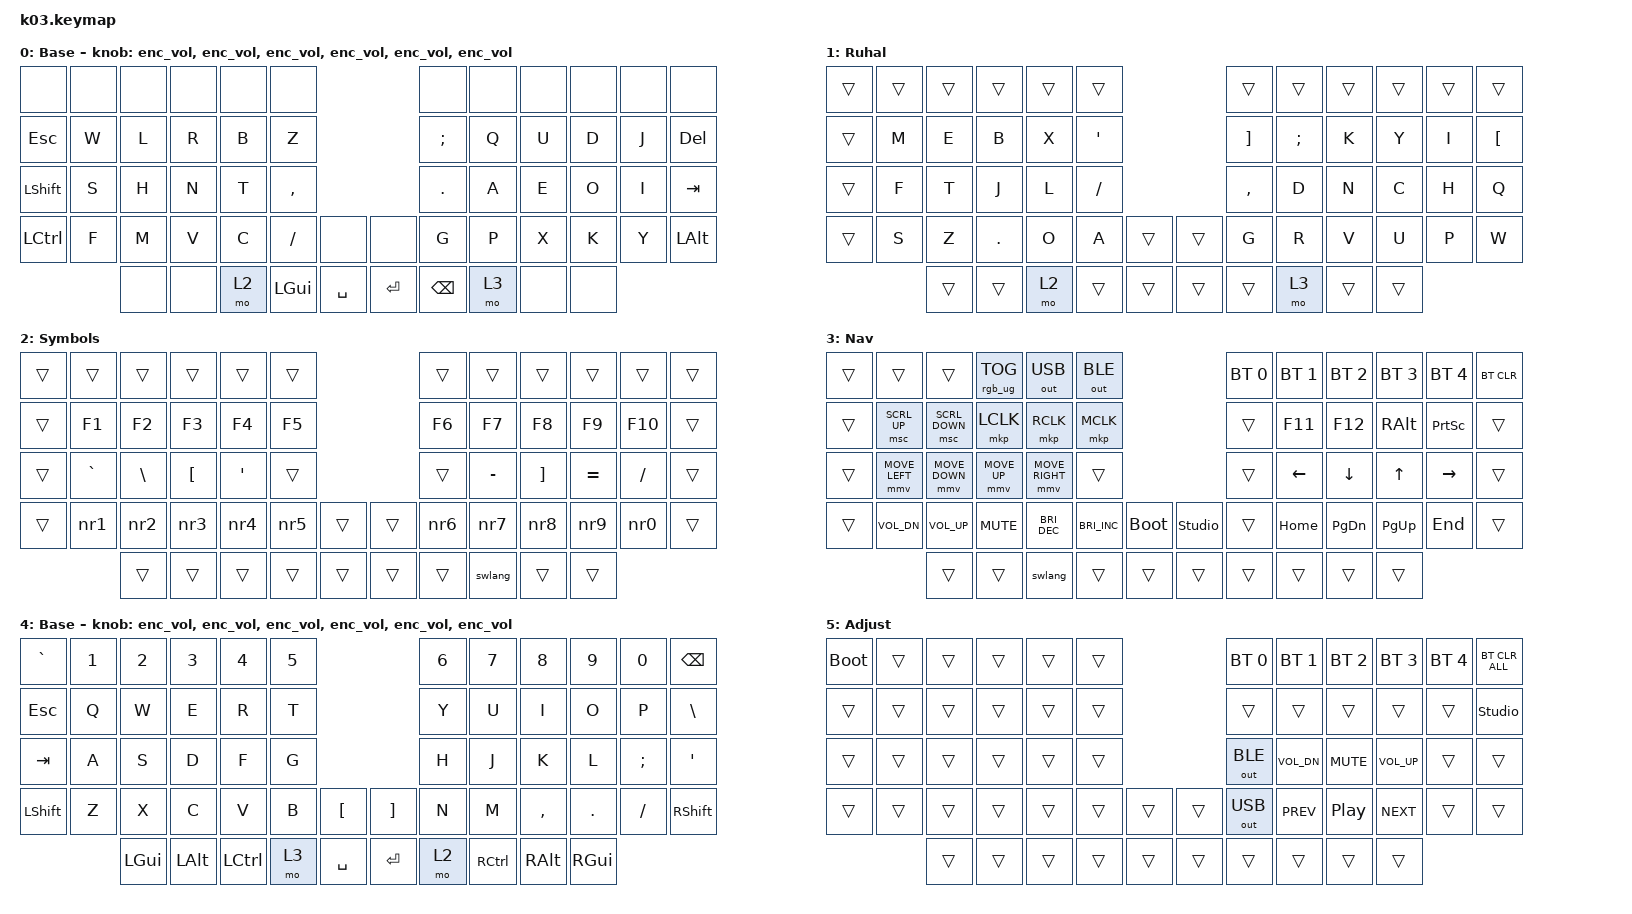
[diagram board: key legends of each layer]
#include "keys_ru.h"
#include <behaviors.dtsi>
#include <dt-bindings/zmk/bt.h>
#include <dt-bindings/zmk/keys.h>
#include <dt-bindings/zmk/outputs.h>
#include <dt-bindings/zmk/pointing.h>
#include <dt-bindings/zmk/rgb.h>

/ {
    behaviors {
        enc_vol: enc_vol {
            compatible = "zmk,behavior-sensor-rotate";
            label = "ENC_VOL";
            #sensor-binding-cells = <0>;
            bindings = <&kp C_VOL_UP>, <&kp C_VOL_DN>;
        };

        nr1: nr1 {
            compatible = "zmk,behavior-mod-morph";
            label = "NR1";
            bindings = <&kp N9>, <&kp CARET>;

            #binding-cells = <0>;
            mods = <(MOD_RSFT|MOD_LSFT)>;
            keep-mods = <(MOD_LSFT|MOD_RSFT)>;
        };

        nr2: nr2 {
            compatible = "zmk,behavior-mod-morph";
            label = "NR2";
            bindings = <&kp N5>, <&kp AMPS>;

            #binding-cells = <0>;
            mods = <(MOD_LSFT|MOD_RSFT)>;
            keep-mods = <(MOD_LSFT|MOD_RSFT)>;
        };

        nr3: nr3 {
            compatible = "zmk,behavior-mod-morph";
            label = "NR3";
            bindings = <&kp N0>, <&kp LPAR>;

            #binding-cells = <0>;
            mods = <(MOD_LSFT|MOD_RSFT)>;
            keep-mods = <(MOD_LSFT|MOD_RSFT)>;
        };

        nr4: nr4 {
            compatible = "zmk,behavior-mod-morph";
            label = "NR4";
            bindings = <&kp N3>, <&kp HASH>;

            #binding-cells = <0>;
            mods = <(MOD_LSFT|MOD_RSFT)>;
            keep-mods = <(MOD_LSFT|MOD_RSFT)>;
        };

        nr5: nr5 {
            compatible = "zmk,behavior-mod-morph";
            label = "NR5";
            bindings = <&kp N7>, <&kp PRCNT>;

            #binding-cells = <0>;
            mods = <(MOD_LSFT|MOD_RSFT)>;
            keep-mods = <(MOD_LSFT|MOD_RSFT)>;
        };

        nr6: nr6 {
            compatible = "zmk,behavior-mod-morph";
            label = "NR6";
            bindings = <&kp N6>, <&kp DLLR>;

            #binding-cells = <0>;
            mods = <(MOD_LSFT|MOD_RSFT)>;
            keep-mods = <(MOD_LSFT|MOD_RSFT)>;
        };

        nr7: nr7 {
            compatible = "zmk,behavior-mod-morph";
            label = "NR7";
            bindings = <&kp N2>, <&kp STAR>;

            #binding-cells = <0>;
            mods = <(MOD_LSFT|MOD_RSFT)>;
            keep-mods = <(MOD_LSFT|MOD_RSFT)>;
        };

        nr8: nr8 {
            compatible = "zmk,behavior-mod-morph";
            label = "NR8";
            bindings = <&kp N1>, <&kp RPAR>;

            #binding-cells = <0>;
            mods = <(MOD_LSFT|MOD_RSFT)>;
            keep-mods = <(MOD_LSFT|MOD_RSFT)>;
        };

        nr9: nr9 {
            compatible = "zmk,behavior-mod-morph";
            label = "NR9";
            bindings = <&kp N4>, <&kp EXCL>;

            #binding-cells = <0>;
            mods = <(MOD_LSFT|MOD_RSFT)>;
            keep-mods = <(MOD_LSFT|MOD_RSFT)>;
        };

        nr0: nr0 {
            compatible = "zmk,behavior-mod-morph";
            label = "NR0";
            bindings = <&kp N8>, <&kp AT>;

            #binding-cells = <0>;
            mods = <(MOD_LSFT|MOD_RSFT)>;
            keep-mods = <(MOD_LSFT|MOD_RSFT)>;
        };
    };

    macros {
        swlang: swlang {
            compatible = "zmk,behavior-macro";
            #binding-cells = <0>;
            bindings = <&kp LG(SPACE) &tog 1>;
            label = "SWLANG";
        };
    };

    keymap {
        compatible = "zmk,keymap";

        hal {
            display-name = "Base";
            bindings = <
&none      &none  &none  &none  &none  &none                              &none     &none  &none  &none  &none  &none
&kp ESC    &kp W  &kp L  &kp R  &kp B  &kp Z                              &kp SEMI  &kp Q  &kp U  &kp D  &kp J  &kp DEL
&kp LSHFT  &kp S  &kp H  &kp N  &kp T  &kp COMMA                          &kp DOT   &kp A  &kp E  &kp O  &kp I  &kp TAB
&kp LCTRL  &kp F  &kp M  &kp V  &kp C  &kp FSLH   &none        &none      &kp G     &kp P  &kp X  &kp K  &kp Y  &kp LALT
                  &none  &none  &mo 2  &kp LGUI   &kp SPACE    &kp ENTER  &kp BSPC  &mo 3  &none  &none
            >;

            sensor-bindings =
                <&enc_vol>,
                <&enc_vol>,
                <&enc_vol>,
                <&enc_vol>,
                <&enc_vol>,
                <&enc_vol>;

            label = "Halmak";
        };

        ruh {
            bindings = <
&trans  &trans  &trans  &trans   &trans  &trans                      &trans     &trans    &trans  &trans  &trans  &trans
&trans  &kp M   &kp E   &kp B    &kp X   &kp SQT                     &kp RBKT   &kp SEMI  &kp K   &kp Y   &kp I   &kp LBKT
&trans  &kp F   &kp T   &kp J    &kp L   &kp FSLH                    &kp COMMA  &kp D     &kp N   &kp C   &kp H   &kp Q
&trans  &kp S   &kp Z   &kp DOT  &kp O   &kp A     &trans    &trans  &kp G      &kp R     &kp V   &kp U   &kp P   &kp W
                &trans  &trans   &mo 2   &trans    &trans    &trans  &trans     &mo 3     &trans  &trans
            >;

            label = "Ruhal";
        };

        sym {
            bindings = <
&trans  &trans     &trans    &trans    &trans   &trans                    &trans  &trans     &trans    &trans     &trans    &trans
&trans  &kp F1     &kp F2    &kp F3    &kp F4   &kp F5                    &kp F6  &kp F7     &kp F8    &kp F9     &kp F10   &trans
&trans  &kp GRAVE  &kp BSLH  &kp LBKT  &kp SQT  &trans                    &trans  &kp MINUS  &kp RBKT  &kp EQUAL  &kp FSLH  &trans
&trans  &nr1       &nr2      &nr3      &nr4     &nr5    &trans    &trans  &nr6    &nr7       &nr8      &nr9       &nr0      &trans
                   &trans    &trans    &trans   &trans  &trans    &trans  &trans  &swlang    &trans    &trans
            >;

            display-name = "Symbols";
        };

        nav {
            bindings = <
&trans  &trans          &trans          &rgb_ug RGB_TOG  &out OUT_USB          &out OUT_BLE                                         &bt BT_SEL 0  &bt BT_SEL 1  &bt BT_SEL 2  &bt BT_SEL 3  &bt BT_SEL 4     &bt BT_CLR
&trans  &msc SCRL_UP    &msc SCRL_DOWN  &mkp LCLK        &mkp RCLK             &mkp MCLK                                            &trans        &kp F11       &kp F12       &kp RALT      &kp PRINTSCREEN  &trans
&trans  &mmv MOVE_LEFT  &mmv MOVE_DOWN  &mmv MOVE_UP     &mmv MOVE_RIGHT       &trans                                               &trans        &kp LEFT      &kp DOWN      &kp UP        &kp RIGHT        &trans
&trans  &kp C_VOL_DN    &kp C_VOL_UP    &kp K_MUTE       &kp C_BRIGHTNESS_DEC  &kp C_BRIGHTNESS_INC  &bootloader    &studio_unlock  &trans        &kp HOME      &kp PG_DN     &kp PG_UP     &kp END          &trans
                        &trans          &trans           &swlang               &trans                &trans         &trans          &trans        &trans        &trans        &trans
            >;

            display-name = "Nav";
        };

        base {
            bindings = <
&kp GRAVE  &kp N1  &kp N2    &kp N3    &kp N4     &kp N5                          &kp N6  &kp N7     &kp N8     &kp N9    &kp N0    &kp BSPC
&kp ESC    &kp Q   &kp W     &kp E     &kp R      &kp T                           &kp Y   &kp U      &kp I      &kp O     &kp P     &kp BSLH
&kp TAB    &kp A   &kp S     &kp D     &kp F      &kp G                           &kp H   &kp J      &kp K      &kp L     &kp SEMI  &kp SQT
&kp LSHFT  &kp Z   &kp X     &kp C     &kp V      &kp B   &kp LBKT     &kp RBKT   &kp N   &kp M      &kp COMMA  &kp DOT   &kp FSLH  &kp RSHFT
                   &kp LGUI  &kp LALT  &kp LCTRL  &mo 3   &kp SPACE    &kp ENTER  &mo 2   &kp RCTRL  &kp RALT   &kp RGUI
            >;

            display-name = "Base";
            sensor-bindings =
                <&enc_vol>,
                <&enc_vol>,
                <&enc_vol>,
                <&enc_vol>,
                <&enc_vol>,
                <&enc_vol>;
        };

        adj {
            bindings = <
&bootloader  &trans  &trans  &trans  &trans  &trans                    &bt BT_SEL 0  &bt BT_SEL 1  &bt BT_SEL 2      &bt BT_SEL 3  &bt BT_SEL 4  &bt BT_CLR_ALL
&trans       &trans  &trans  &trans  &trans  &trans                    &trans        &trans        &trans            &trans        &trans        &studio_unlock
&trans       &trans  &trans  &trans  &trans  &trans                    &out OUT_BLE  &kp C_VOL_DN  &kp C_MUTE        &kp C_VOL_UP  &trans        &trans
&trans       &trans  &trans  &trans  &trans  &trans  &trans    &trans  &out OUT_USB  &kp C_PREV    &kp C_PLAY_PAUSE  &kp C_NEXT    &trans        &trans
                     &trans  &trans  &trans  &trans  &trans    &trans  &trans        &trans        &trans            &trans
            >;

            display-name = "Adjust";
        };
    };
};
